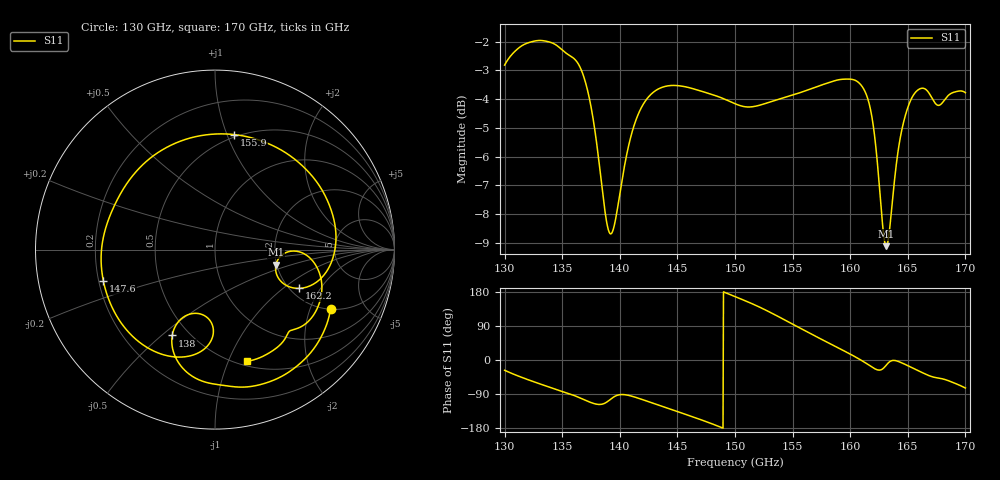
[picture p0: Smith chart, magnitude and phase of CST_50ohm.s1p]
! TOUCHSTONE file generated by CST MICROWAVE STUDIO
! Date and time: Fri Nov 20 14:48:16 2026
! Project name: Matched_Input_4x4.cst
! Parameters = {board_x_max=2.4; board_x_min=-3.12; eps_r=3.5; feed_width=0.1688; first_split_x=-2.9; inlet_rail_separation=0.225; inset_gap=0.02; inset_length=0.165; launch_length=0.5; loss_tangent=0.0027; match_length=0.14; match_start=0.17; match_width=0.045; mesh_box=30; mesh_near=20; metal_thic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
! Header version: 2024
! Port assignment regex: !\s*Touchstone port\s*([0-9]+)\s*=\s*(CST MWS port|CST DES external port|CST DES block port)\s*(.+)\s* \(\"(.*)\"\)(\s*mode\s*([0-9]+))?.*
! Touchstone port assignment:
! Touchstone port 1 = CST MWS port 1 ("50ohm_microstrip")
# GHz S RI R 50
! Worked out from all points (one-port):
!   1001 points, 130 GHz to 170 GHz, reference 50 ohm
!   lowest |S11| = -9.1 dB at 163.1 GHz (marker M1), VSWR 2.08, Z = 99 - j19 ohm
!   |S11| at or under -10 dB: nowhere
!   S11 on the Smith chart (normalised r, x): 130 GHz: 2.03, -2.80; 138 GHz: 0.41, -0.54; 147.6 GHz: 0.22, -0.13; 155.9 GHz: 0.48, +1.06; 162.2 GHz: 2.24, -1.32; 170 GHz: 0.55, -1.17
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130  0.6436 -0.3294
132.6  0.4207 -0.6759
135  0.0925 -0.7626
136.52  -0.1221 -0.7085
137.32  -0.2206 -0.5986
137.96  -0.2382 -0.4783
139.08  -0.1045 -0.355
140  -0.0115 -0.4313
140.88  -0.0394 -0.5338
142.24  -0.1865 -0.5987
145  -0.4793 -0.4624
147.64  -0.6218 -0.1753
150  -0.6045 0.1349
152.56  -0.4247 0.4507
155  -0.0523 0.6391
155.88  0.1076 0.6408
157.84  0.4368 0.5093
160  0.6582 0.1839
161.24  0.6497 -0.0672
162.24  0.4704 -0.2158
162.72  0.362 -0.1708
163.12  0.3397 -0.0842
163.88  0.4624 -0.0105
165  0.5894 -0.1566
165.8  0.5828 -0.2933
166.68  0.5057 -0.4126
168.64  0.36 -0.5332
170  0.1793 -0.6221
